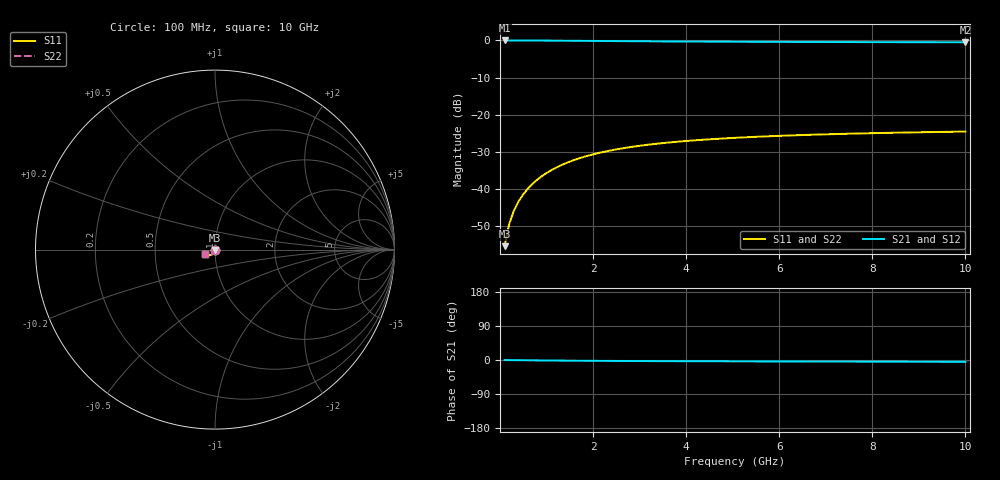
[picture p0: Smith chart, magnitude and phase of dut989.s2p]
! Touchstone file exported from HFSS 2024.1.0
!  File:  C:/UserFiles/LocalFiles/RDL_TSV_Batchsim/temp_TSV1_989_1779952653.aedt
!  Generated:  03:21:31 PM May 28, 2026
!  Design:  TSV1
!  Project:  temp_TSV1_989_1779952653
!  Setup:  Setup1
!  Solution:  Sweep
! Variables:
!  dtsv = 14.88um
!  hbump = 3um
!  htsv = 71.43um
!  lrdl = 252.1521522um
!  p = 40
!  p1 = 48.5um
!  t = 500um
!  trdl = 3um
!  wrdl = 24.89489489um
# GHz S MA R 50.000000
! Terminal data exported
! Port[1] = TSV22_T1
! Port[2] = TSV22_T2
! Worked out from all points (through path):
!   100 points, 100 MHz to 10 GHz, reference 50 ohm
!   highest |S21| = 0.00 dB at 100 MHz (marker M1); lowest = -0.5 dB at 10 GHz (marker M2)
!   lowest |S11| = -55.3 dB at 100 MHz (marker M3), VSWR 1.00, Z = 50 - j0.171 ohm
!   |S11| at or under -10 dB: start of sweep to end of sweep
!   |S22| runs from -55.3 to -24.5 dB; largest |S21 - S12| = 6e-15
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0.1  0.001714 -89.1  0.9999 -0.1  0.9999 -0.1  0.001714 -89.1
! Gamma 0 0 0 0
! Port Impedance 50 0 50 0
0.2  0.00344 -92.2  0.9997 -0.3  0.9997 -0.3  0.00344 -92.2
0.3  0.005154 -94.3  0.9994 -0.4  0.9994 -0.4  0.005154 -94.3
0.4  0.006852 -96.2  0.9991 -0.5  0.9991 -0.5  0.006852 -96.2
0.5  0.00853 -97.9  0.9986 -0.7  0.9986 -0.7  0.00853 -97.9
0.6  0.01018 -99.6  0.9981 -0.8  0.9981 -0.8  0.01018 -99.6
0.7  0.01181 -101.3  0.9975 -0.9  0.9975 -0.9  0.01181 -101.3
0.8  0.0134 -102.9  0.9968 -1.0  0.9968 -1.0  0.0134 -102.9
0.9  0.01496 -104.5  0.996 -1.2  0.996 -1.2  0.01496 -104.5
1.1  0.01797 -107.6  0.9943 -1.4  0.9943 -1.4  0.01797 -107.6
1.4  0.02217 -112.0  0.9915 -1.7  0.9915 -1.7  0.02217 -112.0
1.6  0.02475 -114.7  0.9895 -1.9  0.9895 -1.9  0.02475 -114.7
1.8  0.02716 -117.2  0.9874 -2.0  0.9874 -2.0  0.02716 -117.2
2.1  0.03046 -120.8  0.9843 -2.2  0.9843 -2.2  0.03046 -120.8
2.5  0.0343 -125.1  0.9803 -2.5  0.9803 -2.5  0.0343 -125.1
2.9  0.03759 -128.8  0.9766 -2.7  0.9766 -2.7  0.03759 -128.8
3.4  0.04106 -132.8  0.9723 -2.9  0.9723 -2.9  0.04106 -132.8
4.2  0.04547 -138.1  0.9664 -3.2  0.9664 -3.2  0.04547 -138.1
5.1  0.04924 -142.9  0.961 -3.5  0.961 -3.5  0.04924 -142.9
6.7  0.05397 -149.1  0.9539 -4.0  0.9539 -4.0  0.05397 -149.1
8.4  0.05733 -154.0  0.9487 -4.4  0.9487 -4.4  0.05733 -154.0
10  0.05952 -157.5  0.9452 -4.8  0.9452 -4.8  0.05952 -157.5
